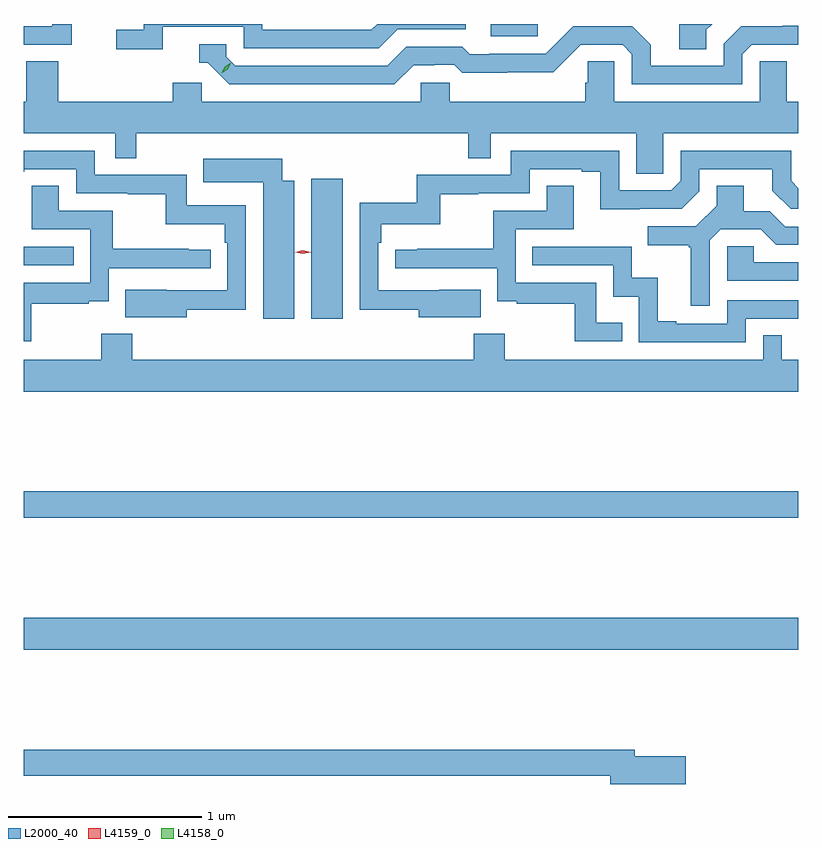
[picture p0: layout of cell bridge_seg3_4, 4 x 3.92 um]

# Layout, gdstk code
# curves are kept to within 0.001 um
import gdstk
lib = gdstk.Library(unit=1e-6, precision=1e-09)
def R(c, l, rs):  # rectangles x0, y0, x1, y1
    for r in rs: c.add(gdstk.rectangle(r[:2], r[2:], *l))
def P(c, l, *ps):  # polygons
    for p in ps: c.add(gdstk.Polygon(p, *l))
L2000_40 = (2000, 40)
L4158_0 = (4158, 0)
L4159_0 = (4159, 0)

bridge_seg3_4 = lib.new_cell('bridge_seg3_4')
R(bridge_seg3_4, L2000_40, [(1118.248,730.22,1122.248,730.384), (1118.248,730.9,1122.248,731.036), (1119.734,731.928,1119.895,732.649), (1118.248,732.204,1118.507,732.3), (1120.659,733.386,1120.902,733.449)])
P(bridge_seg3_4, L2000_40, [(1121.773,733.42),(1121.802,733.449),(1121.633,733.449),(1121.633,733.318),(1121.773,733.318)],
  [(1118.966,733.434),(1119.384,733.434),(1119.384,733.323),(1120.081,733.323),(1120.18,733.422),(1120.53,733.422),(1120.53,733.449),(1120.074,733.449),(1120.044,733.419),(1119.48,733.419),(1119.48,733.449),(1118.868,733.449),(1118.868,733.42),(1118.727,733.42),(1118.727,733.318),(1118.966,733.318)],
  [(1118.496,733.449),(1118.397,733.449),(1118.397,733.437),(1118.248,733.437),(1118.248,733.341),(1118.496,733.341)],
  [(1120.261,733.236),(1120.368,733.236),(1120.368,733.239),(1120.471,733.239),(1120.513,733.197),(1120.746,733.197),(1120.746,733.199),(1120.982,733.199),(1121.124,733.341),(1121.34,733.341),(1121.388,733.293),(1121.388,733.137),(1121.958,733.137),(1121.958,733.293),(1122.006,733.341),(1122.248,733.341),(1122.248,733.439),(1122.168,733.439),(1122.168,733.437),(1121.952,733.437),(1121.862,733.347),(1121.862,733.233),(1121.485,733.233),(1121.485,733.343),(1121.391,733.437),(1121.085,733.437),(1120.944,733.296),(1120.651,733.296),(1120.651,733.293),(1120.552,733.293),(1120.513,733.332),(1120.224,733.332),(1120.125,733.233),(1119.342,733.233),(1119.294,733.281),(1119.294,733.344),(1119.155,733.344),(1119.155,733.248),(1119.198,733.248),(1119.309,733.137),(1120.162,733.137)],
  [(1118.721,732.757),(1118.83,732.757),(1118.83,732.884),(1120.543,732.884),(1120.543,732.757),(1120.659,732.757),(1120.659,732.884),(1121.411,732.884),(1121.411,732.676),(1121.55,732.676),(1121.55,732.884),(1122.248,732.884),(1122.248,733.048),(1122.187,733.048),(1122.187,733.256),(1122.048,733.256),(1122.048,733.048),(1121.298,733.048),(1121.298,733.256),(1121.161,733.256),(1121.161,733.146),(1121.147,733.146),(1121.147,733.048),(1120.449,733.048),(1120.449,733.146),(1120.299,733.146),(1120.299,733.048),(1119.168,733.048),(1119.168,733.146),(1119.017,733.146),(1119.017,733.048),(1118.426,733.048),(1118.426,733.256),(1118.261,733.256),(1118.261,733.048),(1118.248,733.048),(1118.248,732.884),(1118.721,732.884)],
  [(1119.091,731.974),(1119.396,731.974),(1119.396,732.513),(1119.09,732.513),(1119.09,732.672),(1118.616,732.672),(1118.616,732.795),(1118.248,732.795),(1118.248,732.687),(1118.251,732.687),(1118.251,732.699),(1118.52,732.699),(1118.52,732.576),(1118.785,732.576),(1118.785,732.571),(1118.982,732.571),(1118.982,732.416),(1119.287,732.416),(1119.287,732.32),(1119.3,732.32),(1119.3,732.075),(1118.987,732.075),(1118.987,732.076),(1118.773,732.076),(1118.773,731.936),(1119.091,731.936)],
  [(1120.607,732.076),(1120.08,732.075),(1120.08,732.32),(1120.094,732.32),(1120.094,732.416),(1120.399,732.416),(1120.399,732.571),(1120.595,732.571),(1120.595,732.576),(1120.86,732.576),(1120.86,732.699),(1121.129,732.699),(1121.129,732.687),(1121.225,732.687),(1121.225,732.494),(1121.646,732.495),(1121.736,732.585),(1121.736,732.699),(1122.113,732.699),(1122.113,732.589),(1122.207,732.495),(1122.248,732.495),(1122.248,732.601),(1122.21,732.639),(1122.21,732.795),(1121.64,732.795),(1121.64,732.639),(1121.592,732.591),(1121.322,732.591),(1121.322,732.795),(1120.764,732.795),(1120.764,732.672),(1120.278,732.672),(1120.278,732.526),(1119.984,732.526),(1119.984,731.974),(1120.289,731.974),(1120.289,731.936),(1120.607,731.936)],
  [(1119.646,732.64),(1119.583,732.64),(1119.583,732.754),(1119.175,732.754),(1119.175,732.632),(1119.485,732.632),(1119.485,731.928),(1119.646,731.928)],
  [(1121.79,732.333),(1121.847,732.39),(1122.053,732.39),(1122.134,732.309),(1122.248,732.309),(1122.248,732.402),(1122.18,732.402),(1122.1,732.482),(1121.965,732.482),(1121.965,732.614),(1121.825,732.614),(1121.825,732.512),(1121.718,732.405),(1121.469,732.405),(1121.469,732.308),(1121.682,732.308),(1121.682,732.297),(1121.693,732.297),(1121.693,731.994),(1121.79,731.994)],
  [(1121.339,731.908),(1121.205,731.908),(1121.205,732.114),(1120.788,732.114),(1120.788,732.39),(1121.089,732.39),(1121.089,732.614),(1120.949,732.614),(1120.949,732.486),(1120.672,732.486),(1120.672,732.29),(1120.279,732.29),(1120.279,732.285),(1120.167,732.285),(1120.167,732.189),(1120.692,732.189),(1120.692,732.017),(1120.795,732.017),(1120.795,732.006),(1121.094,732.006),(1121.094,731.811),(1121.339,731.811)],
  [(1118.287,732.006),(1118.585,732.006),(1118.585,732.017),(1118.688,732.017),(1118.688,732.189),(1119.214,732.189),(1119.214,732.285),(1119.101,732.285),(1119.101,732.29),(1118.708,732.29),(1118.708,732.486),(1118.431,732.486),(1118.431,732.614),(1118.291,732.614),(1118.291,732.39),(1118.592,732.39),(1118.592,732.114),(1118.248,732.114),(1118.248,731.811),(1118.287,731.811)],
  [(1122.248,732.219),(1122.017,732.219),(1122.017,732.303),(1121.88,732.303),(1121.88,732.123),(1122.248,732.123)],
  [(1121.976,731.928),(1122.248,731.928),(1122.248,732.024),(1121.88,732.024),(1121.88,731.901),(1121.617,731.901),(1121.617,731.914),(1121.521,731.914),(1121.521,732.139),(1121.388,732.139),(1121.388,732.3),(1120.873,732.3),(1120.873,732.204),(1121.292,732.204),(1121.292,732.041),(1121.424,732.041),(1121.424,731.805),(1121.976,731.805)],
  [(1122.248,731.716),(1122.162,731.716),(1122.162,731.843),(1122.066,731.843),(1122.066,731.716),(1120.731,731.716),(1120.731,731.851),(1120.571,731.851),(1120.571,731.716),(1118.81,731.716),(1118.81,731.851),(1118.65,731.851),(1118.65,731.716),(1118.248,731.716),(1118.248,731.552),(1122.248,731.552)],
  [(1121.665,729.668),(1121.404,729.668),(1121.404,729.704),(1118.248,729.704),(1118.248,729.568),(1121.276,729.568),(1121.276,729.526),(1121.665,729.526)])
P(bridge_seg3_4, L4158_0, [(1119.271,733.195),(1119.271,733.195),(1119.287,733.228),(1119.318,733.248),(1119.318,733.248),(1119.318,733.247),(1119.302,733.215),(1119.271,733.195)])
P(bridge_seg3_4, L4159_0, [(1119.69,732.262),(1119.65,732.272),(1119.65,732.272),(1119.65,732.272),(1119.69,732.282),(1119.73,732.272),(1119.73,732.272),(1119.73,732.272)])

lib.write_gds('bridge_seg3_4.gds')
